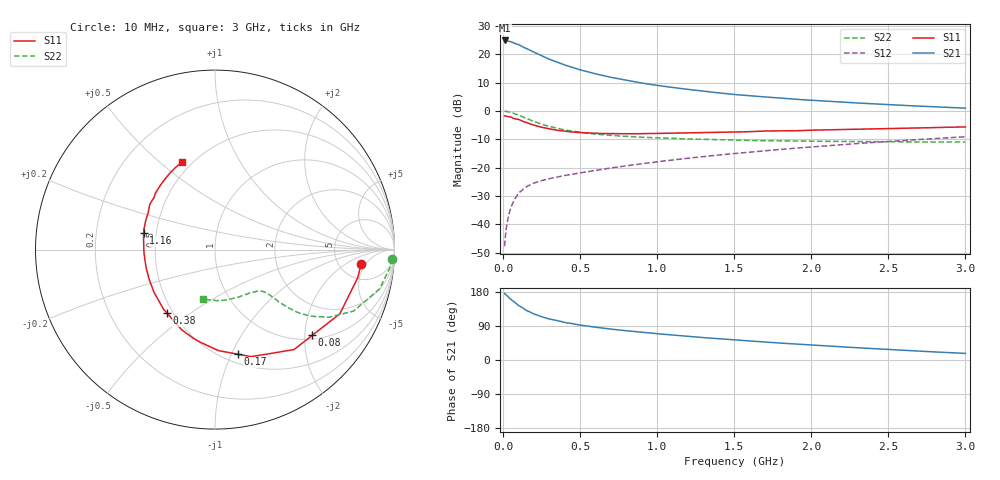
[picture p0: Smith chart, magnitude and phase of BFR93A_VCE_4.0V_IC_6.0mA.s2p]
! Infineon Technologies  Discrete & RF Semiconductors
! BFR93A
! VCE =  4.0 V,  IC =  6.0 mA
! Common Emitter S-Parameters:  Nov 2015
# GHz  S  MA  R  50
!  f  S11  S21  S12  S22
! GHz  MAG  ANG  MAG  ANG  MAG  ANG  MAG  ANG
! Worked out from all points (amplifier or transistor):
!   180 points, 10 MHz to 3 GHz, reference 50 ohm
!   highest |S21| = 24.9 dB at 10 MHz (marker M1)
!   |S21| within 3 dB of that: start of sweep to 157 MHz
!   unconditionally stable (mu >= 1): 702.4 MHz to 2.707 GHz
!   at 160 MHz: K = 0.38, MSG = 24.2 dB, |S12| = -26.5 dB
!   at 1.22 GHz: K = 1.11, MAG = 10.0 dB, |S12| = -16.6 dB
!   at 3 GHz: K = 0.97, MSG = 5.1 dB, |S12| = -9.1 dB
!   S11 on the Smith chart (normalised r, x): 10 MHz: 8.08, -3.89; 80 MHz: 1.09, -2.18; 170 MHz: 0.59, -1.06; 380 MHz: 0.46, -0.41; 1.16 GHz: 0.42, +0.09; 3 GHz: 0.44, +0.59
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0.01  0.8178 -5.6  17.49 175.7  0.0041 88.0  0.9868 -2.9
0.02  0.811 -11.0  17.36 171.7  0.0081 83.9  0.9811 -5.6
0.05  0.7822 -27.2  16.66 160.1  0.0196 76.5  0.9432 -13.4
0.08  0.7225 -41.4  15.38 151.0  0.0289 68.6  0.8807 -19.4
0.1  0.71 -51.7  14.78 144.1  0.0352 65.7  0.845 -23.9
0.15  0.6295 -71.4  12.66 131.1  0.0456 58.6  0.7383 -30.7
0.17  0.5969 -77.6  11.9 127.6  0.0486 56.9  0.7028 -32.2
0.2  0.5629 -88.1  10.85 121.5  0.0532 54.8  0.6507 -34.8
0.24  0.5231 -98.8  9.627 115.7  0.0578 52.9  0.5955 -36.7
0.26  0.5084 -103.8  9.098 113.0  0.0598 52.3  0.5716 -37.4
0.3  0.4839 -112.6  8.17 108.2  0.0636 51.6  0.5311 -38.3
0.38  0.4439 -126.9  6.773 101.2  0.0706 51.6  0.4742 -39.1
0.4  0.4387 -130.8  6.444 99.0  0.0724 51.6  0.46 -39.3
0.52  0.4114 -147.0  5.144 91.1  0.0822 52.8  0.4115 -39.6
0.7  0.3969 -164.5  3.912 81.5  0.0984 55.0  0.369 -40.3
0.88  0.3958 -177.6  3.17 74.1  0.1147 56.5  0.3448 -42.1
1.02  0.3999 174.0  2.768 68.7  0.1284 57.3  0.333 -43.9
1.16  0.408 167.0  2.472 63.9  0.1423 57.7  0.3227 -46.5
1.52  0.4241 151.8  1.927 52.5  0.1789 57.6  0.3045 -54.3
2.02  0.4582 136.1  1.528 39.1  0.2331 55.4  0.2911 -68.2
2.52  0.4883 122.7  1.28 27.5  0.2914 51.5  0.2851 -84.3
3  0.5215 110.7  1.119 17.4  0.3492 46.7  0.2829 -103.3
